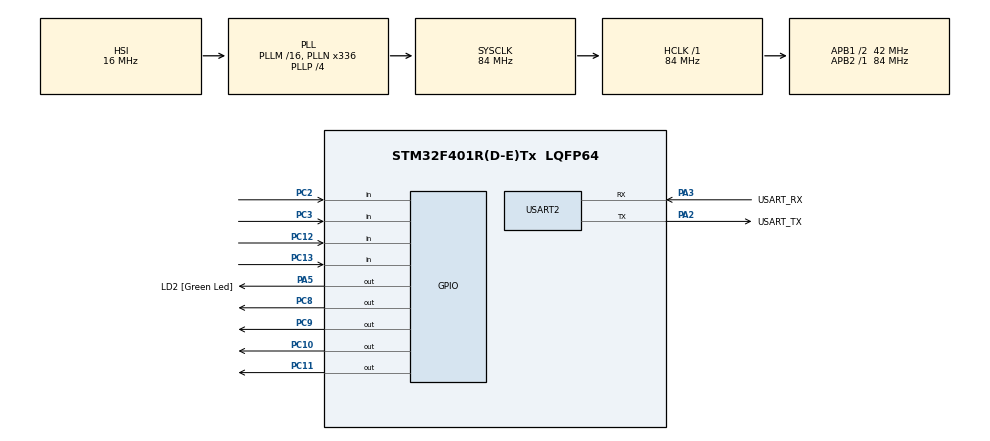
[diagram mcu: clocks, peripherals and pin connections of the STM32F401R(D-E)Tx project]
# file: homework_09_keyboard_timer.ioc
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Mcu.Family=STM32F4
Mcu.Name=STM32F401R(D-E)Tx
Mcu.Package=LQFP64
NVIC.PriorityGroup=NVIC_PRIORITYGROUP_0
NVIC.TIM1_UP_TIM10_IRQn=true\:0\:0\:false\:false\:true\:true\:true\:true
PA13.GPIO_Label=TMS
PA13.Mode=Serial_Wire
PA13.Signal=SYS_JTMS-SWDIO
PA14.GPIO_Label=TCK
PA14.Mode=Serial_Wire
PA14.Signal=SYS_JTCK-SWCLK
PA2.GPIO_Label=USART_TX
PA2.GPIO_Mode=GPIO_MODE_AF_PP
PA2.GPIO_PuPd=GPIO_NOPULL
PA2.GPIO_Speed=GPIO_SPEED_FREQ_LOW
PA2.Mode=Asynchronous
PA2.Signal=USART2_TX
PA3.GPIO_Label=USART_RX
PA3.GPIO_Mode=GPIO_MODE_AF_PP
PA3.GPIO_PuPd=GPIO_NOPULL
PA3.GPIO_Speed=GPIO_SPEED_FREQ_LOW
PA3.Mode=Asynchronous
PA3.Signal=USART2_RX
PA5.GPIO_Label=LD2 [Green Led]
PA5.GPIO_Mode=GPIO_MODE_OUTPUT_PP
PA5.GPIO_PuPd=GPIO_NOPULL
PA5.GPIO_Speed=GPIO_SPEED_FREQ_LOW
PA5.Signal=GPIO_Output
PB3.GPIO_Label=SWO
PB3.Signal=SYS_JTDO-SWO
PC10.Signal=GPIO_Output
PC11.Signal=GPIO_Output
PC12.Signal=GPIO_Input
PC13-ANTI_TAMP.Signal=GPIO_Input
PC14-OSC32_IN.Mode=LSE-External-Oscillator
PC14-OSC32_IN.Signal=RCC_OSC32_IN
PC15-OSC32_OUT.Mode=LSE-External-Oscillator
PC15-OSC32_OUT.Signal=RCC_OSC32_OUT
PC2.Signal=GPIO_Input
PC3.Signal=GPIO_Input
PC8.Signal=GPIO_Output
PC9.Signal=GPIO_Output
PH0\ -\ OSC_IN.Mode=HSE-External-Clock-Source
PH0\ -\ OSC_IN.Signal=RCC_OSC_IN
PH1\ -\ OSC_OUT.Mode=HSE-External-Clock-Source
PH1\ -\ OSC_OUT.Signal=RCC_OSC_OUT
ProjectManager.HeapSize=0x200
ProjectManager.StackSize=0x400
ProjectManager.TargetToolchain=STM32CubeIDE
RCC.48MHZClocksFreq_Value=48000000
RCC.AHBFreq_Value=84000000
RCC.APB1CLKDivider=RCC_HCLK_DIV2
RCC.APB1Freq_Value=42000000
RCC.APB1TimFreq_Value=84000000
RCC.APB2Freq_Value=84000000
RCC.APB2TimFreq_Value=84000000
RCC.CortexFreq_Value=84000000
RCC.HCLKFreq_Value=84000000
RCC.HSE_VALUE=8000000
RCC.HSI_VALUE=16000000
RCC.PLLN=336
RCC.PLLP=RCC_PLLP_DIV4
RCC.PLLQ=7
RCC.SYSCLKFreq_VALUE=84000000
RCC.SYSCLKSource=RCC_SYSCLKSOURCE_PLLCLK
RCC.VCOOutputFreq_Value=336000000
TIM1.Period=10-1
TIM1.Prescaler=8400-1
USART2.VirtualMode=VM_ASYNC
VP_TIM1_VS_ClockSourceINT.Mode=Internal
board=NUCLEO-F401RE

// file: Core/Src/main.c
/* USER CODE BEGIN Header */
/**
  ******************************************************************************
  * @file           : main.c
  * @brief          : Main program body
  ******************************************************************************
  * @attention
  *
  * Copyright (c) 2023 STMicroelectronics.
  * All rights reserved.
  *
  * This software is licensed under terms that can be found in the LICENSE file
  * in the root directory of this software component.
  * If no LICENSE file comes with this software, it is provided AS-IS.
  *
  ******************************************************************************
  */
/* USER CODE END Header */
#include "main.h"

TIM_HandleTypeDef htim1;

UART_HandleTypeDef huart2;

/* USER CODE BEGIN PV */
// enable read of rows of the keyboard
volatile int activate;

// struct to keep track of the buttons
typedef struct {
	char value[2];
	GPIO_PinState state;
	int pressed;
	int printed;
}keyboard_t;

// service variables
volatile int state_i = 0;
volatile int state_j = 0;
volatile int column = 0;

volatile const uint16_t COLUMN_PIN[]= {
	GPIO_PIN_8,
	GPIO_PIN_9,
	GPIO_PIN_10,
	GPIO_PIN_11
};

// send to remote terminal
volatile char message[32];
volatile int length = 0;
/* USER CODE END PV */

void SystemClock_Config(void);
static void MX_GPIO_Init(void);
static void MX_USART2_UART_Init(void);
static void MX_TIM1_Init(void);
/* USER CODE BEGIN PFP */
void HAL_TIM_PeriodElapsedCallback(TIM_HandleTypeDef *htim);
/* USER CODE END PFP */

int main(void)
{

  /* MCU Configuration--------------------------------------------------------*/

  /* Reset of all peripherals, Initializes the Flash interface and the Systick. */
  HAL_Init();

  /* Configure the system clock */
  SystemClock_Config();

  /* Initialize all configured peripherals */
  MX_GPIO_Init();
  MX_USART2_UART_Init();
  MX_TIM1_Init();
  /* USER CODE BEGIN 2 */
  keyboard_t data[4][4];
  for(int i = 0; i < 4; i++) {
    for(int j = 0; j < 4; j++) {
	    data[i][j].state = GPIO_PIN_SET;
	    data[i][j].value[1] = '\0';
	    data[i][j].pressed = 0;
	    data[i][j].printed = 0;
    }
  }

  data[0][0].value[0] = '0';
  data[0][1].value[0] = '1';
  data[0][2].value[0] = '2';
  data[0][3].value[0] = '3';
  data[1][0].value[0] = '4';
  data[1][1].value[0] = '5';
  data[1][2].value[0] = '6';
  data[1][3].value[0] = '7';
  data[2][0].value[0] = '8';
  data[2][1].value[0] = '9';
  data[2][2].value[0] = 'A';
  data[2][3].value[0] = 'B';
  data[3][0].value[0] = 'C';
  data[3][1].value[0] = 'D';
  data[3][2].value[0] = 'E';
  data[3][3].value[0] = 'F';

  HAL_GPIO_WritePin(GPIOC, GPIO_PIN_8, GPIO_PIN_RESET);
  HAL_GPIO_WritePin(GPIOC, GPIO_PIN_9, GPIO_PIN_RESET);
  HAL_GPIO_WritePin(GPIOC, GPIO_PIN_10, GPIO_PIN_RESET);
  HAL_GPIO_WritePin(GPIOC, GPIO_PIN_11, GPIO_PIN_RESET);

  HAL_TIM_Base_Start_IT(&htim1);
  /* USER CODE END 2 */

  /* Infinite loop */
  /* USER CODE BEGIN WHILE */
  while (1)
  {
	  	HAL_GPIO_WritePin(GPIOC, COLUMN_PIN[column], GPIO_PIN_SET);

	  	if(activate) {
	  		activate = 0;
			data[state_i][state_j].state = HAL_GPIO_ReadPin(GPIOC, GPIO_PIN_12);
			state_i++;
			data[state_i][state_j].state = HAL_GPIO_ReadPin(GPIOC, GPIO_PIN_13);
			state_i++;
			data[state_i][state_j].state = HAL_GPIO_ReadPin(GPIOC, GPIO_PIN_2);
			state_i++;
			data[state_i][state_j].state = HAL_GPIO_ReadPin(GPIOC, GPIO_PIN_3);
			state_i = 0;
			HAL_GPIO_WritePin(GPIOC, COLUMN_PIN[column], GPIO_PIN_RESET);

			column++;
			if(column > 3) {
				column = 0;
			}

			state_j++;
			if(state_j > 3) {
				state_j = 0;
			}

			for(int i = 0; i < 4; i++) {
				for(int j = 0; j < 4; j++) {
					if(data[i][j].state == GPIO_PIN_SET) {
						data[i][j].pressed = 0;
						data[i][j].printed = 0;
					}
				}
			}

			for(int i = 0; i < 4; i++) {
				for(int j = 0; j < 4; j++) {
					if(data[i][j].state == GPIO_PIN_RESET) {
						length = snprintf(message, 32, "%s ", data[i][j].value);
						data[i][j].pressed = 1;
					}

					if(data[i][j].pressed && !data[i][j].printed){
						HAL_UART_Transmit(&huart2, message, length, 50);
						data[i][j].printed = 1;
					}
				}
			}
	  	}
    /* USER CODE END WHILE */

  }
}

void SystemClock_Config(void)
{
  RCC_OscInitTypeDef RCC_OscInitStruct = {0};
  RCC_ClkInitTypeDef RCC_ClkInitStruct = {0};

  /** Configure the main internal regulator output voltage
  */
  __HAL_RCC_PWR_CLK_ENABLE();
  __HAL_PWR_VOLTAGESCALING_CONFIG(PWR_REGULATOR_VOLTAGE_SCALE2);

  /** Initializes the RCC Oscillators according to the specified parameters
  * in the RCC_OscInitTypeDef structure.
  */
  RCC_OscInitStruct.OscillatorType = RCC_OSCILLATORTYPE_HSI;
  RCC_OscInitStruct.HSIState = RCC_HSI_ON;
  RCC_OscInitStruct.HSICalibrationValue = RCC_HSICALIBRATION_DEFAULT;
  RCC_OscInitStruct.PLL.PLLState = RCC_PLL_ON;
  RCC_OscInitStruct.PLL.PLLSource = RCC_PLLSOURCE_HSI;
  RCC_OscInitStruct.PLL.PLLM = 16;
  RCC_OscInitStruct.PLL.PLLN = 336;
  RCC_OscInitStruct.PLL.PLLP = RCC_PLLP_DIV4;
  RCC_OscInitStruct.PLL.PLLQ = 7;
  if (HAL_RCC_OscConfig(&RCC_OscInitStruct) != HAL_OK)
  {
    Error_Handler();
  }

  /** Initializes the CPU, AHB and APB buses clocks
  */
  RCC_ClkInitStruct.ClockType = RCC_CLOCKTYPE_HCLK|RCC_CLOCKTYPE_SYSCLK
                              |RCC_CLOCKTYPE_PCLK1|RCC_CLOCKTYPE_PCLK2;
  RCC_ClkInitStruct.SYSCLKSource = RCC_SYSCLKSOURCE_PLLCLK;
  RCC_ClkInitStruct.AHBCLKDivider = RCC_SYSCLK_DIV1;
  RCC_ClkInitStruct.APB1CLKDivider = RCC_HCLK_DIV2;
  RCC_ClkInitStruct.APB2CLKDivider = RCC_HCLK_DIV1;

  if (HAL_RCC_ClockConfig(&RCC_ClkInitStruct, FLASH_LATENCY_2) != HAL_OK)
  {
    Error_Handler();
  }
}

static void MX_TIM1_Init(void)
{

  TIM_ClockConfigTypeDef sClockSourceConfig = {0};
  TIM_MasterConfigTypeDef sMasterConfig = {0};

  htim1.Instance = TIM1;
  htim1.Init.Prescaler = 8400-1;
  htim1.Init.CounterMode = TIM_COUNTERMODE_UP;
  htim1.Init.Period = 10-1;
  htim1.Init.ClockDivision = TIM_CLOCKDIVISION_DIV1;
  htim1.Init.RepetitionCounter = 0;
  htim1.Init.AutoReloadPreload = TIM_AUTORELOAD_PRELOAD_DISABLE;
  if (HAL_TIM_Base_Init(&htim1) != HAL_OK)
  {
    Error_Handler();
  }
  sClockSourceConfig.ClockSource = TIM_CLOCKSOURCE_INTERNAL;
  if (HAL_TIM_ConfigClockSource(&htim1, &sClockSourceConfig) != HAL_OK)
  {
    Error_Handler();
  }
  sMasterConfig.MasterOutputTrigger = TIM_TRGO_RESET;
  sMasterConfig.MasterSlaveMode = TIM_MASTERSLAVEMODE_DISABLE;
  if (HAL_TIMEx_MasterConfigSynchronization(&htim1, &sMasterConfig) != HAL_OK)
  {
    Error_Handler();
  }

}

static void MX_USART2_UART_Init(void)
{

  huart2.Instance = USART2;
  huart2.Init.BaudRate = 115200;
  huart2.Init.WordLength = UART_WORDLENGTH_8B;
  huart2.Init.StopBits = UART_STOPBITS_1;
  huart2.Init.Parity = UART_PARITY_NONE;
  huart2.Init.Mode = UART_MODE_TX_RX;
  huart2.Init.HwFlowCtl = UART_HWCONTROL_NONE;
  huart2.Init.OverSampling = UART_OVERSAMPLING_16;
  if (HAL_UART_Init(&huart2) != HAL_OK)
  {
    Error_Handler();
  }

}

static void MX_GPIO_Init(void)
{
  GPIO_InitTypeDef GPIO_InitStruct = {0};

  /* GPIO Ports Clock Enable */
  __HAL_RCC_GPIOC_CLK_ENABLE();
  __HAL_RCC_GPIOH_CLK_ENABLE();
  __HAL_RCC_GPIOA_CLK_ENABLE();
  __HAL_RCC_GPIOB_CLK_ENABLE();

  /*Configure GPIO pin Output Level */
  HAL_GPIO_WritePin(LD2_GPIO_Port, LD2_Pin, GPIO_PIN_RESET);

  /*Configure GPIO pin Output Level */
  HAL_GPIO_WritePin(GPIOC, GPIO_PIN_8|GPIO_PIN_9|GPIO_PIN_10|GPIO_PIN_11, GPIO_PIN_RESET);

  /*Configure GPIO pins : PC13 PC2 PC3 PC12 */
  GPIO_InitStruct.Pin = GPIO_PIN_13|GPIO_PIN_2|GPIO_PIN_3|GPIO_PIN_12;
  GPIO_InitStruct.Mode = GPIO_MODE_INPUT;
  GPIO_InitStruct.Pull = GPIO_NOPULL;
  HAL_GPIO_Init(GPIOC, &GPIO_InitStruct);

  /*Configure GPIO pin : LD2_Pin */
  GPIO_InitStruct.Pin = LD2_Pin;
  GPIO_InitStruct.Mode = GPIO_MODE_OUTPUT_PP;
  GPIO_InitStruct.Pull = GPIO_NOPULL;
  GPIO_InitStruct.Speed = GPIO_SPEED_FREQ_LOW;
  HAL_GPIO_Init(LD2_GPIO_Port, &GPIO_InitStruct);

  /*Configure GPIO pins : PC8 PC9 PC10 PC11 */
  GPIO_InitStruct.Pin = GPIO_PIN_8|GPIO_PIN_9|GPIO_PIN_10|GPIO_PIN_11;
  GPIO_InitStruct.Mode = GPIO_MODE_OUTPUT_PP;
  GPIO_InitStruct.Pull = GPIO_NOPULL;
  GPIO_InitStruct.Speed = GPIO_SPEED_FREQ_LOW;
  HAL_GPIO_Init(GPIOC, &GPIO_InitStruct);

}

/* USER CODE BEGIN 4 */
void HAL_TIM_PeriodElapsedCallback(TIM_HandleTypeDef *htim) {
	if(htim != &htim1) return;

	activate = 1;
}
/* USER CODE END 4 */

void Error_Handler(void)
{
  __disable_irq();
  while (1)
  {
  }
}
